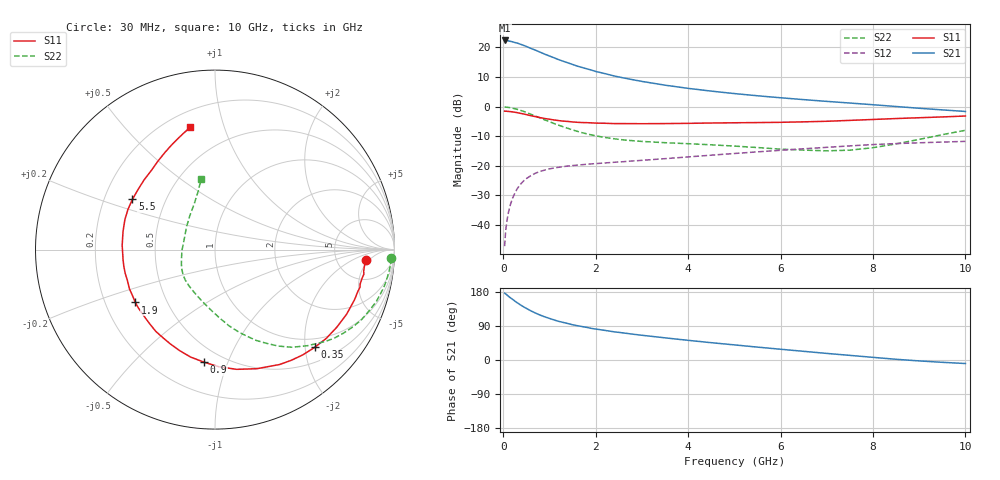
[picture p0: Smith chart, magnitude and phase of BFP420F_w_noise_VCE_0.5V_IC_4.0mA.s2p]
! Infineon Technologies  Discrete & RF Semiconductors
! BFP420F
! VCE =  0.5 V,  IC =  4.0 mA
! Common Emitter S-Parameters:  Sep 2011
# GHz  S  MA  R  50
!  f  S11  S21  S12  S22
! GHz  MAG  ANG  MAG  ANG  MAG  ANG  MAG  ANG
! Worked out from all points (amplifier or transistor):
!   54 points, 30 MHz to 10 GHz, reference 50 ohm
!   highest |S21| = 22.4 dB at 40 MHz (marker M1)
!   |S21| within 3 dB of that: start of sweep to 651.2 MHz
!   unconditionally stable (mu >= 1): 2.659 GHz to end of sweep
!   at 120 MHz: K = 0.07, MSG = 28.8 dB, |S12| = -35.3 dB
!   at 1.3 GHz: K = 0.52, MSG = 17.8 dB, |S12| = -20.3 dB
!   at 10 GHz: K = 1.37, MAG = 1.4 dB, |S12| = -11.7 dB
!   lowest NFmin = 0.90 dB at 450 MHz
!   S11 on the Smith chart (normalised r, x): 30 MHz: 10, -4; 350 MHz: 0.80, -2.21; 900 MHz: 0.40, -0.82; 1.9 GHz: 0.33, -0.27; 5.5 GHz: 0.32, +0.25; 10 GHz: 0.29, +0.77
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0.03  0.8406 -4.0  13.11 176.5  0.0044 88.7  0.9825 -2.8
0.04  0.8393 -5.4  13.13 175.5  0.0058 89.1  0.9818 -3.7
0.1  0.831 -13.3  13.03 169.5  0.0144 83.3  0.973 -9.0
0.11  0.8347 -14.5  12.84 168.8  0.0159 83.1  0.9707 -9.9
0.12  0.8298 -16.1  12.92 167.4  0.0172 81.8  0.9686 -10.8
0.15  0.8256 -20.0  12.71 164.6  0.0215 79.8  0.9602 -13.5
0.25  0.8047 -32.5  12.13 155.6  0.0343 73.1  0.9235 -21.8
0.35  0.7779 -44.4  11.51 147.3  0.0463 67.2  0.878 -29.6
0.45  0.7488 -55.5  10.78 139.7  0.0565 61.8  0.8269 -36.7
0.6  0.7032 -70.7  9.634 129.6  0.0685 54.9  0.7431 -46.1
0.7  0.6779 -79.8  8.979 123.8  0.0754 51.1  0.6932 -51.7
0.9  0.63 -95.7  7.693 113.9  0.085 45.2  0.597 -61.1
1.2  0.5815 -115.3  6.22 102.0  0.0947 39.1  0.486 -73.0
1.5  0.552 -130.7  5.166 93.0  0.1012 35.5  0.4052 -82.7
1.7  0.5392 -139.0  4.6 88.4  0.1045 33.9  0.3643 -88.8
1.9  0.5329 -146.5  4.165 83.6  0.1078 32.9  0.3343 -94.4
2.6  0.5175 -165.3  3.063 71.4  0.1176 31.1  0.2744 -111.5
3.5  0.5178 177.2  2.307 58.5  0.1323 30.6  0.2462 -127.3
5.5  0.5385 148.7  1.527 34.0  0.1723 27.3  0.2039 -156.8
7  0.5664 128.6  1.228 17.4  0.2055 22.2  0.1794 169.5
8.5  0.6298 112.8  1.006 1.9  0.2378 14.4  0.235 126.7
10  0.6947 101.5  0.83 -9.3  0.2592 7.3  0.3988 101.2
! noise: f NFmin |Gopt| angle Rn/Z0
0.45  0.9  0.29  15  0.18
0.9  0.93  0.3  37  0.18
1.9  1.14  0.23  96  0.14
2.4  1.24  0.24  105  0.15
3.5  1.56  0.28  144  0.16
